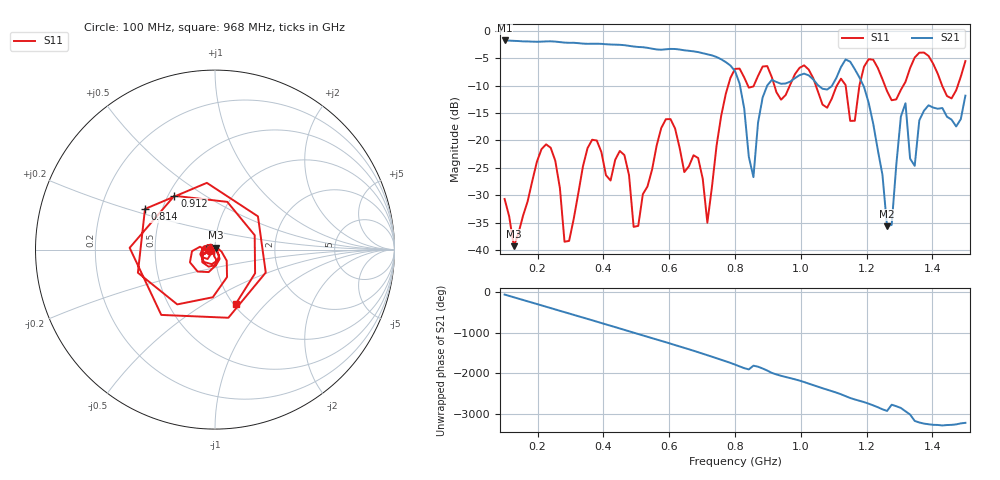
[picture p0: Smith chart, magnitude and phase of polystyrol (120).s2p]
! NanoVNA-App
! Date: 2025-09-26 09:42:49
! Start: 100MHz Stop: 1,5GHz Points: 101
! S-Parameter data: F S11 S21 S12 S22
# Hz S RI R 50
!  Frequency  S11_Real  S11_Imag  S21_Real  S21_Imag  S12_Real  S12_Imag  S22_Real  S22_Imag
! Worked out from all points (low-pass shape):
!   101 points, 100 MHz to 1.5 GHz, reference 50 ohm
!   highest |S21| = -1.79 dB at 100 MHz (marker M1); lowest = -35.7 dB at 1.262 GHz (marker M2)
!   |S21| within 3 dB of the highest: start of sweep to 743.3 MHz
!   lowest |S11| = -39.2 dB at 128 MHz (marker M3), VSWR 1.02, Z = 50.3 + j1.06 ohm
!   |S11| at or under -10 dB: start of sweep to 779.3 MHz; 1.046 GHz to 1.11 GHz (64.07 MHz wide, 5.95 % of centre); 1.255 GHz to 1.312 GHz (56.04 MHz wide, 4.37 % of centre) (the widest 3 of 7)
!   S12 and S22 are empty: the file has one direction only
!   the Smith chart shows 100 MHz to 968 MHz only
!   S11 on the Smith chart (normalised r, x): 100 MHz: 0.94, -0.01; 814 MHz: 0.40, +0.23; 912 MHz: 0.54, +0.38; 968 MHz: 1.03, -0.69
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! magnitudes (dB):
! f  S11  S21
! 100 MHz  -30.7  -1.8
! 128 MHz  -39.2  -1.9
! 212 MHz  -21.6  -2.0
! 282 MHz  -38.4  -2.2
! 338 MHz  -24.7  -2.4
! 464 MHz  -22.7  -2.6
! 506 MHz  -35.6  -3.0
! 576 MHz  -17.7  -3.5
! 688 MHz  -23.2  -3.9
! 716 MHz  -35.0  -4.3
! 800 MHz  -7.0  -7.4
! 814 MHz  -6.9  -9.6
! 856 MHz  -10.2  -26.7
! 912 MHz  -8.5  -9.0
! 968 MHz  -9.8  -9.3
! 1.038 GHz  -8.7  -8.9
! 1.178 GHz  -10.0  -8.5
! 1.262 GHz  -11.0  -35.7
! 1.276 GHz  -12.7  -35.4
! 1.318 GHz  -9.3  -13.2
! 1.346 GHz  -4.9  -24.6
! 1.5 GHz  -5.5  -11.8
